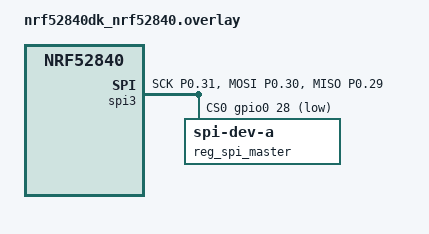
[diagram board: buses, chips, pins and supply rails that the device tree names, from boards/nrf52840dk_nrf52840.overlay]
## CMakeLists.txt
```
cmake_minimum_required(VERSION 3.20.0)

if (EXISTS "${CMAKE_CURRENT_SOURCE_DIR}/${BOARD}.overlay")
  set(mcuboot_DTC_OVERLAY_FILE "${CMAKE_CURRENT_SOURCE_DIR}/${BOARD}.overlay")
endif()

find_package(Zephyr REQUIRED HINTS $ENV{ZEPHYR_BASE})
set(CMAKE_EXPORT_COMPILE_COMMANDS ON)
#
# set(CMAKE_C_FLAGS "${CMAKE_C_FLAGS} -Werror")
# set(CMAKE_C_FLAGS "${CMAKE_C_FLAGS} -Wall")
# set(CMAKE_C_FLAGS "${CMAKE_C_FLAGS} -O2")

project(passr)

target_sources(app PRIVATE src/main.c)
```

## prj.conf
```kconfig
CONFIG_BUILD_OUTPUT_UF2=y
CONFIG_GPIO=y
CONFIG_SPI_ASYNC=y
CONFIG_SPI_PL022_INTERRUPT=y
```

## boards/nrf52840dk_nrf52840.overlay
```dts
&pinctrl {
	spi_master_default: spi_master_default {
		group1 {
			psels = <NRF_PSEL(SPIM_SCK, 0, 31)>,
					<NRF_PSEL(SPIM_MOSI, 0, 30)>,
					<NRF_PSEL(SPIM_MISO, 0, 29)>;
		};
	};

	spi_master_sleep: spi_master_sleep {
		group1 {
			psels = <NRF_PSEL(SPIM_SCK, 0, 31)>,
					<NRF_PSEL(SPIM_MOSI, 0, 30)>,
					<NRF_PSEL(SPIM_MISO, 0, 29)>;
			low-power-enable;
		};
	};
};

spi_master: &spi3 {
	compatible = "nordic,nrf-spim";
	status = "okay";
	pinctrl-0 = <&spi_master_default>;
	pinctrl-1 = <&spi_master_sleep>;
	pinctrl-names = "default", "sleep";
	cs-gpios = <&gpio0 28 GPIO_ACTIVE_LOW>;
	reg_spi_master: spi-dev-a@0 {
		reg = <0>;
	};
};
```

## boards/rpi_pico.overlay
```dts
&spi1 {
	compatible = "raspberrypi,pico-spi", "arm,pl022";
    cs-gpios = <&gpio0 9 GPIO_ACTIVE_LOW>;
#address-cells = <1>;
#size-cells = <0>;
    reg = <0x40040000 DT_SIZE_K(4)>;
    resets = <&reset RPI_PICO_RESETS_RESET_SPI1>;
    clocks = <&peripheral_clk>;
    interrupts = <19 RPI_PICO_DEFAULT_IRQ_PRIORITY>;
    interrupt-names = "spi1";
    status = "okay";
};
```

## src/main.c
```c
#include <stdint.h>
#include <zephyr/kernel.h>
#include <zephyr/device.h>
#include <zephyr/devicetree.h>
#include <zephyr/drivers/gpio.h>
#include <zephyr/drivers/spi.h>

#include "nrf_gpio.h"

/* 1000 msec = 1 sec */
#define SLEEP_TIME_MS   100

/* The devicetree node identifier for the "led0" alias. */
#define LED0_NODE DT_ALIAS(led0)
#define SPI_MASTER DT_NODELABEL(spi_master)
#define RST_PAPER NRF_GPIO_PIN_MAP(0, 4)

// SPI
const struct device *spi_dev;
static struct k_poll_signal spi_done_sig = K_POLL_SIGNAL_INITIALIZER(spi_done_sig);

struct spi_cs_control spim_cs = {
	.gpio = SPI_CS_GPIOS_DT_SPEC_GET(DT_NODELABEL(reg_spi_master)),
	.delay = 0,
};

static void spi_init(void)
{
	spi_dev = DEVICE_DT_GET(SPI_MASTER);
	if(!device_is_ready(spi_dev)) {
		printk("SPI master device not ready!\n");
	}
	if(!device_is_ready(spim_cs.gpio.port)){
		printk("SPI master chip select device not ready!\n");
	}
}

static const struct spi_config spi_cfg = {
	.operation = SPI_WORD_SET(8) | SPI_TRANSFER_MSB,
	.frequency = 4000000,
	.slave = 0,
	.cs = &spim_cs,
};

static int spi_write_8(uint8_t command) {
    const struct spi_buf tx_buf = {
        .buf = &command,
        .len = sizeof(command)
    };

    const struct spi_buf_set tx = {
        .buffers = &tx_buf,
        .count = 1
    };

    k_poll_signal_reset(&spi_done_sig);
    int error = spi_write(spi_dev, &spi_cfg, &tx);
    if(error != 0){
        printk("SPI write error: %i\n", error);
        return error;
    }
}

static int spi_write_buf(uint8_t* buf, int len) {
    const struct spi_buf tx_buf = {
        .buf = buf,
        .len = len
    };

    const struct spi_buf_set tx = {
        .buffers = &tx_buf,
        .count = 1
    };

    k_poll_signal_reset(&spi_done_sig);
    int error = spi_write(spi_dev, &spi_cfg, &tx);
    if(error != 0){
        printk("SPI write error: %i\n", error);
        return error;
    }
}

static const struct gpio_dt_spec led = GPIO_DT_SPEC_GET(LED0_NODE, gpios);

void main(void)
{
	if (!device_is_ready(led.port)) {
		return;
	}

	int ret = gpio_pin_configure_dt(&led, GPIO_OUTPUT_ACTIVE);
	ret += nrf_gpio_cfg_output(RST_PAPER);
	if (ret < 0) {
		return;
	}

	spi_init();

    gpio_pin_set_dt(&rst, 0);
    k_msleep(SLEEP_TIME_MS);
    gpio_pin_set_dt(&rst, 1);

    k_msleep(SLEEP_TIME_MS);
    spi_write_8(0x12);
    k_msleep(SLEEP_TIME_MS);

	while (1) {
	    gpio_pin_toggle_dt(&led);
		k_msleep(SLEEP_TIME_MS);
    }
}
```
